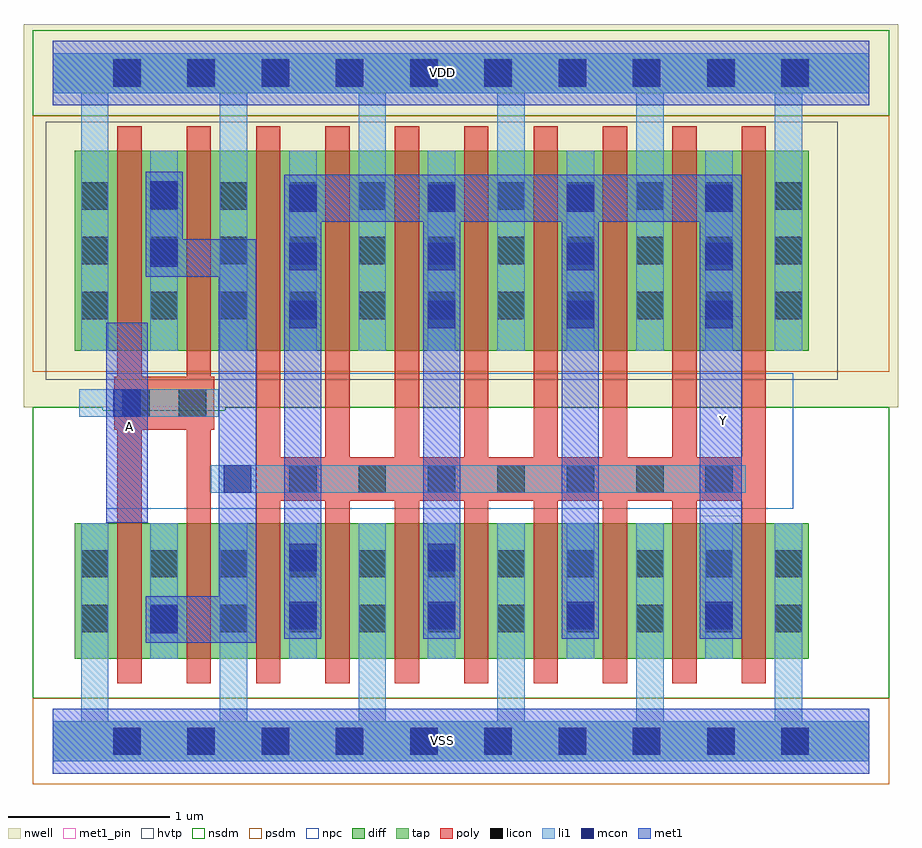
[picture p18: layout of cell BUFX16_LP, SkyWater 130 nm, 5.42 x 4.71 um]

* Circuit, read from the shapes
.subckt BUFX16_LP A VDD VSS Y
XM1 n1 A VSS VSS sky130_fd_pr__nfet_01v8 w=0.84 l=0.15 m=2
XM2 Y n1 VSS VSS sky130_fd_pr__nfet_01v8 w=0.84 l=0.15 m=8
XM3 n1 A VDD VDD sky130_fd_pr__pfet_01v8_hvt w=1.24 l=0.15 m=2
XM4 Y n1 VDD VDD sky130_fd_pr__pfet_01v8_hvt w=1.24 l=0.15 m=8
.ends

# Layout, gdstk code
from math import pi, radians
import gdstk
lib = gdstk.Library(unit=1e-6, precision=1e-09)
def R(c, l, rs):  # rectangles x0, y0, x1, y1
    for r in rs: c.add(gdstk.rectangle(r[:2], r[2:], *l))
def A(c, l, x, y, w, h, nx, ny, dx, dy):  # array of equal rectangles
    R(c, l, [(x+i*dx, y+j*dy, x+i*dx+w, y+j*dy+h) for i in range(nx) for j in range(ny)])
def P(c, l, *ps):  # polygons
    for p in ps: c.add(gdstk.Polygon(p, *l))
nwell = (64, 20)
diff = (65, 20)
tap = (65, 44)
poly = (66, 20)
licon = (66, 44)
li1 = (67, 20)
mcon = (67, 44)
met1_pin = (68, 16)
met1 = (68, 20)
hvtp = (78, 44)
nsdm = (93, 44)
psdm = (94, 20)
npc = (95, 20)

l1m1_c_cdns_750721840971 = lib.new_cell('L1M1_C_CDNS_750721840971')
R(l1m1_c_cdns_750721840971, li1, [(-0.085,-0.165,0.085,0.165)])
R(l1m1_c_cdns_750721840971, mcon, [(-0.085,-0.085,0.085,0.085)])
R(l1m1_c_cdns_750721840971, met1, [(-0.115,-0.145,0.115,0.145)])

pyl1con_c_cdns_750721840 = lib.new_cell('PYL1CON_C_CDNS_750721840972')
R(pyl1con_c_cdns_750721840, poly, [(-0.135,-0.165,0.135,0.165)])
R(pyl1con_c_cdns_750721840, licon, [(-0.085,-0.085,0.085,0.085)])
R(pyl1con_c_cdns_750721840, npc, [(-0.185,-0.185,0.185,0.185)])

l1m1_c_cdns_750721840975 = lib.new_cell('L1M1_C_CDNS_750721840975')
R(l1m1_c_cdns_750721840975, li1, [(-0.085,-0.345,0.085,0.345)])
R(l1m1_c_cdns_750721840975, mcon, [(-0.085,-0.265,0.085,-0.095), (-0.085,0.095,0.085,0.265)])
R(l1m1_c_cdns_750721840975, met1, [(-0.115,-0.325,0.115,0.325)])

l1m1_c_cdns_750721840973 = lib.new_cell('L1M1_C_CDNS_750721840973')
R(l1m1_c_cdns_750721840973, li1, [(-0.165,-0.085,0.165,0.085)])
R(l1m1_c_cdns_750721840973, mcon, [(-0.085,-0.085,0.085,0.085)])
R(l1m1_c_cdns_750721840973, met1, [(-0.115,-0.145,0.115,0.145)])

bufx16_lp = lib.new_cell('BUFX16_LP')
R(bufx16_lp, nwell, [(-0.18,2.07,5.24,4.305), (-0.045,2.24,1.385,3.84), (1.025,2.24,4.865,3.84), (-0.18,3.875,5.24,4.445)])
A(bufx16_lp, diff, 0.4, 0.51, 0.15, 0.84, 10, 1, 0.43, 0)
A(bufx16_lp, diff, 1.41, 0.51, 0.28, 0.84, 7, 1, 0.43, 0)
A(bufx16_lp, diff, 0.4, 2.42, 0.15, 1.24, 10, 1, 0.43, 0)
A(bufx16_lp, diff, 1.41, 2.42, 0.28, 1.24, 7, 1, 0.43, 0)
R(bufx16_lp, diff, [(0.135,0.51,0.4,1.35), (0.55,0.51,0.83,1.35), (0.98,0.51,1.205,1.35), (1.205,0.51,1.26,1.35), (4.42,0.51,4.685,1.35), (0.135,2.42,0.4,3.66), (0.55,2.42,0.83,3.66), (0.98,2.42,1.205,3.66), (1.205,2.42,1.26,3.66), (4.42,2.42,4.685,3.66)])
A(bufx16_lp, poly, 0.4, 0.36, 0.15, 0.055, 10, 2, 0.43, 1.085)
A(bufx16_lp, poly, 0.4, 0.415, 0.15, 0.095, 10, 2, 0.43, 0.935)
A(bufx16_lp, poly, 0.4, 0.51, 0.15, 0.84, 10, 1, 0.43, 0)
A(bufx16_lp, poly, 1.26, 2.27, 0.15, 0.055, 8, 1, 0.43, 0)
A(bufx16_lp, poly, 0.4, 2.325, 0.15, 0.095, 10, 2, 0.43, 1.335)
A(bufx16_lp, poly, 0.4, 2.42, 0.15, 1.24, 10, 1, 0.43, 0)
A(bufx16_lp, poly, 0.4, 3.755, 0.15, 0.055, 10, 1, 0.43, 0)
R(bufx16_lp, poly, [(0.38,1.93,1,2.26), (0.4,2.22,0.55,2.42), (0.83,2.22,0.98,2.42)])
A(bufx16_lp, licon, 0.375, -0.085, 0.17, 0.17, 10, 2, 0.46, 4.14)
A(bufx16_lp, licon, 0.175, 0.675, 0.17, 0.17, 11, 2, 0.43, 0.34)
A(bufx16_lp, licon, 0.175, 2.615, 0.17, 0.17, 11, 3, 0.43, 0.34)
A(bufx16_lp, li1, 0.175, 0.51, 0.17, 0.84, 11, 1, 0.43, 0)
A(bufx16_lp, li1, 0.175, 2.42, 0.17, 1.24, 11, 1, 0.43, 0)
A(bufx16_lp, mcon, 0.375, -0.085, 0.17, 0.17, 10, 2, 0.46, 4.14)
A(bufx16_lp, mcon, 1.465, 0.695, 0.17, 0.17, 4, 2, 0.86, 1.865)
A(bufx16_lp, mcon, 1.465, 2.92, 0.17, 0.17, 4, 2, 0.86, 0.36)
R(bufx16_lp, mcon, [(1.465,1.055,1.635,1.225), (2.325,1.055,2.495,1.225)])
R(bufx16_lp, met1_pin, [(0.33,1.355,0.59,2.595), (4.01,1.395,4.27,2.635)])
R(bufx16_lp, hvtp, [(-0.045,2.24,1.385,3.84), (1.025,2.24,4.865,3.84)])
R(bufx16_lp, nsdm, [(-0.005,0.38,1.215,1.48), (1.195,0.38,4.825,1.48), (-0.125,3.875,5.185,4.405), (-0.125,3.93,5.185,4.35)])
P(bufx16_lp, nsdm, [(5.185,2.07),(1.07,2.07),(1.07,2.05),(0.31,2.05),(0.31,2.07),(-0.125,2.07),(-0.125,0.265),(5.185,0.265)])
R(bufx16_lp, psdm, [(-0.125,-0.265,5.185,0.265), (-0.125,-0.21,5.185,0.21), (-0.125,2.29,5.185,3.875), (-0.005,2.29,1.215,3.79), (1.195,2.29,4.825,3.79)])
R(bufx16_lp, npc, [(0.33,1.44,4.59,2.28)])
bufx16_lp.add(gdstk.FlexPath([(4.345,2.27),(4.345,1.5)], 0.15, ends="flush", simple_path=True, layer=66, datatype=20))  # poly
bufx16_lp.add(gdstk.FlexPath([(3.915,2.27),(3.915,1.5)], 0.15, ends="flush", simple_path=True, layer=66, datatype=20))  # poly
bufx16_lp.add(gdstk.FlexPath([(3.485,2.27),(3.485,1.5)], 0.15, ends="flush", simple_path=True, layer=66, datatype=20))  # poly
bufx16_lp.add(gdstk.FlexPath([(2.625,2.27),(2.625,1.5)], 0.15, ends="flush", simple_path=True, layer=66, datatype=20))  # poly
bufx16_lp.add(gdstk.FlexPath([(1.765,2.27),(1.765,1.5)], 0.15, ends="flush", simple_path=True, layer=66, datatype=20))  # poly
bufx16_lp.add(gdstk.FlexPath([(0.905,2.27),(0.905,1.5)], 0.15, ends="flush", simple_path=True, layer=66, datatype=20))  # poly
bufx16_lp.add(gdstk.FlexPath([(3.055,2.27),(3.055,1.5)], 0.15, ends="flush", simple_path=True, layer=66, datatype=20))  # poly
bufx16_lp.add(gdstk.FlexPath([(2.195,2.27),(2.195,1.5)], 0.15, ends="flush", simple_path=True, layer=66, datatype=20))  # poly
bufx16_lp.add(gdstk.FlexPath([(1.335,2.27),(1.335,1.5)], 0.15, ends="flush", simple_path=True, layer=66, datatype=20))  # poly
bufx16_lp.add(gdstk.FlexPath([(0.475,2.27),(0.475,1.5)], 0.15, ends="flush", simple_path=True, layer=66, datatype=20))  # poly
bufx16_lp.add(gdstk.FlexPath([(4.34,0),(5.06,0)], 0.25, ends=(0.085, 0), simple_path=True, layer=67, datatype=20))  # li1
bufx16_lp.add(gdstk.FlexPath([(0.69,0),(2.47,0)], 0.25, ends=(0.085, 0.085), simple_path=True, layer=67, datatype=20))  # li1
bufx16_lp.add(gdstk.FlexPath([(2.47,0),(3.42,0)], 0.25, ends=(0.085, 0.085), simple_path=True, layer=67, datatype=20))  # li1
bufx16_lp.add(gdstk.FlexPath([(0,0),(0.69,0)], 0.25, ends=(0, 0.085), simple_path=True, layer=67, datatype=20))  # li1
bufx16_lp.add(gdstk.FlexPath([(3.42,0),(4.34,0)], 0.25, ends=(0.085, 0.085), simple_path=True, layer=67, datatype=20))  # li1
bufx16_lp.add(gdstk.FlexPath([(2.47,4.14),(3.42,4.14)], 0.25, ends=(0.085, 0.085), simple_path=True, layer=67, datatype=20))  # li1
bufx16_lp.add(gdstk.FlexPath([(0.98,1.625),(4.295,1.625)], 0.17, ends="flush", simple_path=True, layer=67, datatype=20))  # li1
bufx16_lp.add(gdstk.FlexPath([(0,4.14),(0.69,4.14)], 0.25, ends=(0, 0.085), simple_path=True, layer=67, datatype=20))  # li1
bufx16_lp.add(gdstk.FlexPath([(3.42,4.14),(4.34,4.14)], 0.25, ends=(0.085, 0.085), simple_path=True, layer=67, datatype=20))  # li1
bufx16_lp.add(gdstk.FlexPath([(0.69,4.14),(2.47,4.14)], 0.25, ends=(0.085, 0.085), simple_path=True, layer=67, datatype=20))  # li1
bufx16_lp.add(gdstk.FlexPath([(4.34,4.14),(5.06,4.14)], 0.25, ends=(0.085, 0), simple_path=True, layer=67, datatype=20))  # li1
bufx16_lp.add(gdstk.FlexPath([(0.26,0),(0.215,0)], 0.17, ends=(0.085, 0), simple_path=True, layer=67, datatype=20))  # li1
bufx16_lp.add(gdstk.FlexPath([(1.12,0.59),(1.12,0)], 0.17, ends=(0, 0.085), simple_path=True, layer=67, datatype=20))  # li1
bufx16_lp.add(gdstk.FlexPath([(1.98,0),(1.625,0)], 0.17, ends="extended", simple_path=True, layer=67, datatype=20))  # li1
bufx16_lp.add(gdstk.FlexPath([(2.84,0.59),(2.84,0)], 0.17, ends=(0, 0.125), simple_path=True, layer=67, datatype=20))  # li1
bufx16_lp.add(gdstk.FlexPath([(3.7,0),(2.84,0)], 0.17, ends="extended", simple_path=True, layer=67, datatype=20))  # li1
bufx16_lp.add(gdstk.FlexPath([(4.56,0),(3.7,0)], 0.17, ends="extended", simple_path=True, layer=67, datatype=20))  # li1
bufx16_lp.add(gdstk.FlexPath([(0.165,2.095),(1.03,2.095)], 0.17, ends="flush", simple_path=True, layer=67, datatype=20))  # li1
bufx16_lp.add(gdstk.FlexPath([(3.7,3.55),(3.7,4.14)], 0.17, ends=(0, 0.125), simple_path=True, layer=67, datatype=20))  # li1
bufx16_lp.add(gdstk.FlexPath([(3.7,0.59),(3.7,0)], 0.17, ends=(0, 0.125), simple_path=True, layer=67, datatype=20))  # li1
bufx16_lp.add(gdstk.FlexPath([(0.26,4.14),(0.215,4.14)], 0.17, ends=(0.085, 0), simple_path=True, layer=67, datatype=20))  # li1
bufx16_lp.add(gdstk.FlexPath([(1.12,3.55),(1.12,4.14)], 0.17, ends=(0, 0.125), simple_path=True, layer=67, datatype=20))  # li1
bufx16_lp.add(gdstk.FlexPath([(4.56,4.14),(0.26,4.14)], 0.17, ends="extended", simple_path=True, layer=67, datatype=20))  # li1
bufx16_lp.add(gdstk.FlexPath([(4.56,3.55),(4.56,4.14)], 0.17, ends=(0, 0.085), simple_path=True, layer=67, datatype=20))  # li1
bufx16_lp.add(gdstk.FlexPath([(1.12,0),(0.215,0)], 0.17, ends=(0.085, 0), simple_path=True, layer=67, datatype=20))  # li1
bufx16_lp.add(gdstk.FlexPath([(2.84,0),(1.98,0)], 0.17, ends="extended", simple_path=True, layer=67, datatype=20))  # li1
bufx16_lp.add(gdstk.FlexPath([(4.56,0.59),(4.56,0)], 0.17, ends=(0, 0.085), simple_path=True, layer=67, datatype=20))  # li1
bufx16_lp.add(gdstk.FlexPath([(0.26,3.55),(0.26,4.14)], 0.17, ends=(0, 0.085), simple_path=True, layer=67, datatype=20))  # li1
bufx16_lp.add(gdstk.FlexPath([(1.98,3.55),(1.98,4.14)], 0.17, ends=(0, 0.125), simple_path=True, layer=67, datatype=20))  # li1
bufx16_lp.add(gdstk.FlexPath([(2.84,3.55),(2.84,4.14)], 0.17, ends=(0, 0.125), simple_path=True, layer=67, datatype=20))  # li1
bufx16_lp.add(gdstk.FlexPath([(1.98,0.59),(1.98,0)], 0.17, ends=(0, 0.125), simple_path=True, layer=67, datatype=20))  # li1
bufx16_lp.add(gdstk.FlexPath([(0.26,0.59),(0.26,0)], 0.17, ends=(0, 0.085), simple_path=True, layer=67, datatype=20))  # li1
bufx16_lp.add(gdstk.FlexPath([(0,0),(5.06,0)], 0.4, ends="flush", simple_path=True, layer=68, datatype=20))  # met1
bufx16_lp.add(gdstk.FlexPath([(4.27,3.365),(1.435,3.365)], 0.29, ends="flush", simple_path=True, layer=68, datatype=20))  # met1
bufx16_lp.add(gdstk.FlexPath([(0.46,1.355),(0.46,2.595)], 0.26, ends="flush", simple_path=True, layer=68, datatype=20))  # met1
bufx16_lp.add(gdstk.FlexPath([(0,4.14),(5.06,4.14)], 0.4, ends="flush", simple_path=True, layer=68, datatype=20))  # met1
bufx16_lp.add(gdstk.FlexPath([(4.14,0.635),(4.14,3.495)], 0.26, ends="flush", simple_path=True, layer=68, datatype=20))  # met1
bufx16_lp.add(gdstk.FlexPath([(3.27,3.495),(3.27,0.635)], 0.23, ends="flush", simple_path=True, layer=68, datatype=20))  # met1
bufx16_lp.add(gdstk.FlexPath([(2.41,3.495),(2.41,0.635)], 0.23, ends="flush", simple_path=True, layer=68, datatype=20))  # met1
bufx16_lp.add(gdstk.FlexPath([(1.55,3.495),(1.55,0.635)], 0.23, ends="flush", simple_path=True, layer=68, datatype=20))  # met1
bufx16_lp.add(gdstk.FlexPath([(1.145,2.995),(0.575,2.995)], 0.23, ends=(0.115, 0), simple_path=True, layer=68, datatype=20))  # met1
bufx16_lp.add(gdstk.FlexPath([(1.145,1.625),(1.145,2.995)], 0.23, ends=(0, 0.115), simple_path=True, layer=68, datatype=20))  # met1
bufx16_lp.add(gdstk.FlexPath([(0.575,0.755),(1.145,0.755)], 0.29, ends=(0, 0.115), simple_path=True, layer=68, datatype=20))  # met1
bufx16_lp.add(gdstk.FlexPath([(1.145,0.755),(1.145,1.625)], 0.23, ends=(0.145, 0), simple_path=True, layer=68, datatype=20))  # met1
bufx16_lp.add(gdstk.FlexPath([(0,4.14),(5.06,4.14)], 0.25, ends="flush", simple_path=True, layer=65, datatype=44))  # tap
bufx16_lp.add(gdstk.FlexPath([(0,0),(5.06,0)], 0.25, ends="flush", simple_path=True, layer=65, datatype=44))  # tap
bufx16_lp.add(gdstk.FlexPath([(0,4.14),(5.06,4.14)], 0.4, ends="flush", simple_path=True, layer=68, datatype=16))  # met1_pin
bufx16_lp.add(gdstk.FlexPath([(0,0),(5.06,0)], 0.4, ends="flush", simple_path=True, layer=68, datatype=16))  # met1_pin
bufx16_lp.add(gdstk.Reference(l1m1_c_cdns_750721840971, (0.69,0.755)))
bufx16_lp.add(gdstk.Reference(pyl1con_c_cdns_750721840, (2.84,1.625), rotation=pi/2))
bufx16_lp.add(gdstk.Reference(pyl1con_c_cdns_750721840, (0.515,2.095), rotation=pi, x_reflection=True))
bufx16_lp.add(gdstk.Reference(pyl1con_c_cdns_750721840, (0.865,2.095), rotation=pi, x_reflection=True))
bufx16_lp.add(gdstk.Reference(pyl1con_c_cdns_750721840, (3.27,1.625), rotation=pi/2))
bufx16_lp.add(gdstk.Reference(pyl1con_c_cdns_750721840, (2.41,1.625), rotation=pi/2))
bufx16_lp.add(gdstk.Reference(pyl1con_c_cdns_750721840, (4.13,1.625), rotation=pi/2))
bufx16_lp.add(gdstk.Reference(pyl1con_c_cdns_750721840, (3.7,1.625), rotation=pi/2))
bufx16_lp.add(gdstk.Reference(pyl1con_c_cdns_750721840, (1.98,1.625), rotation=pi/2))
bufx16_lp.add(gdstk.Reference(pyl1con_c_cdns_750721840, (1.55,1.625), rotation=pi/2))
bufx16_lp.add(gdstk.Reference(l1m1_c_cdns_750721840975, (0.69,3.205)))
bufx16_lp.add(gdstk.Reference(l1m1_c_cdns_750721840973, (1.145,1.625), x_reflection=True))
bufx16_lp.add(gdstk.Reference(l1m1_c_cdns_750721840973, (0.46,2.095), x_reflection=True))
bufx16_lp.add(gdstk.Label('Y', (4.155,1.99), layer=68, texttype=5))
bufx16_lp.add(gdstk.Label('VDD', (2.415,4.145), layer=68, texttype=5))
bufx16_lp.add(gdstk.Label('VSS', (2.415,0.005), layer=68, texttype=5))
bufx16_lp.add(gdstk.Label('A', (0.475,1.95), layer=68, texttype=5))

lib.write_gds('BUFX16_LP.gds')
